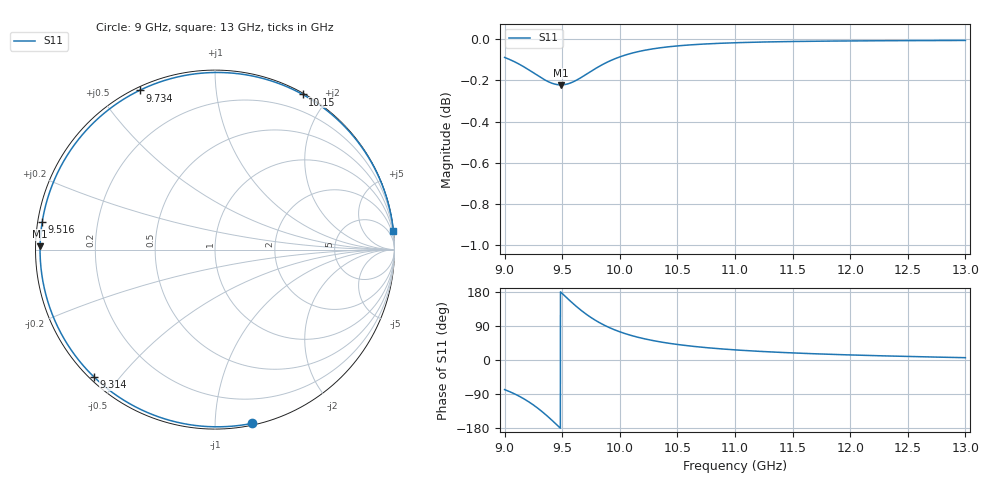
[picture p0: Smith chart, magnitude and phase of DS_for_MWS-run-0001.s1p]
! TOUCHSTONE file generated by CST DESIGN STUDIO
! Date and time: Tue Feb  4 17:10:59 2025
! Project name: C:\Work\MatlabApps\UnitCellOptimizationMatlab\CST\unitcell.cst
! Tree item: Tasks\Sweep1\SPara1\S-Parameters
! Header version: 2024
! Port assignment regex: !\s*Touchstone port\s*([0-9]+)\s*=\s*(CST MWS port|CST DES external port|CST DES block port)\s*(.+)\s* \(\"(.*)\"\)(\s*mode\s*([0-9]+))?.*
! Touchstone port assignment:
! Touchstone port 1 = CST DES external port 1 ("")
# GHz S MA R 50
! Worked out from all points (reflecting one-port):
!   4001 points, 9 GHz to 13 GHz, reference 50 ohm
!   lowest |S11| = -0.2 dB at 9.488 GHz (marker M1), VSWR 78.33, Z = 0.638 + j0.473 ohm
!   phase of S11 starts at -78 deg and turns -276 deg over the sweep
!   S11 on the Smith chart (normalised r, x): 9 GHz: 0.01, -1.23; 9.314 GHz: 0.01, -0.43; 9.516 GHz: 0.01, +0.08; 9.734 GHz: 0.01, +0.63; 10.15 GHz: 0.01, +1.72; 13 GHz: 0, +19
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9  0.9899 -78.1
9.08  0.9877 -88.5
9.179  0.9842 -104.6
9.249  0.9814 -118.5
9.314  0.9788 -133.4
9.36  0.9771 -145.1
9.408  0.9758 -158.2
9.449  0.975 -169.8
9.488  0.9748 178.9
9.5  0.9748 175.4
9.516  0.9749 170.8
9.569  0.9758 155.8
9.629  0.9775 139.8
9.681  0.9795 127.1
9.734  0.9816 115.4
9.788  0.9837 104.8
9.848  0.9859 94.5
9.923  0.9882 83.7
10  0.9902 74.4
10.151  0.993 60.5
10.309  0.9949 50.1
10.5  0.9963 41.0
10.722  0.9973 33.4
11  0.9981 26.7
11.5  0.9987 18.7
12  0.9991 13.3
12.5  0.9992 9.4
13  0.9993 6.1
